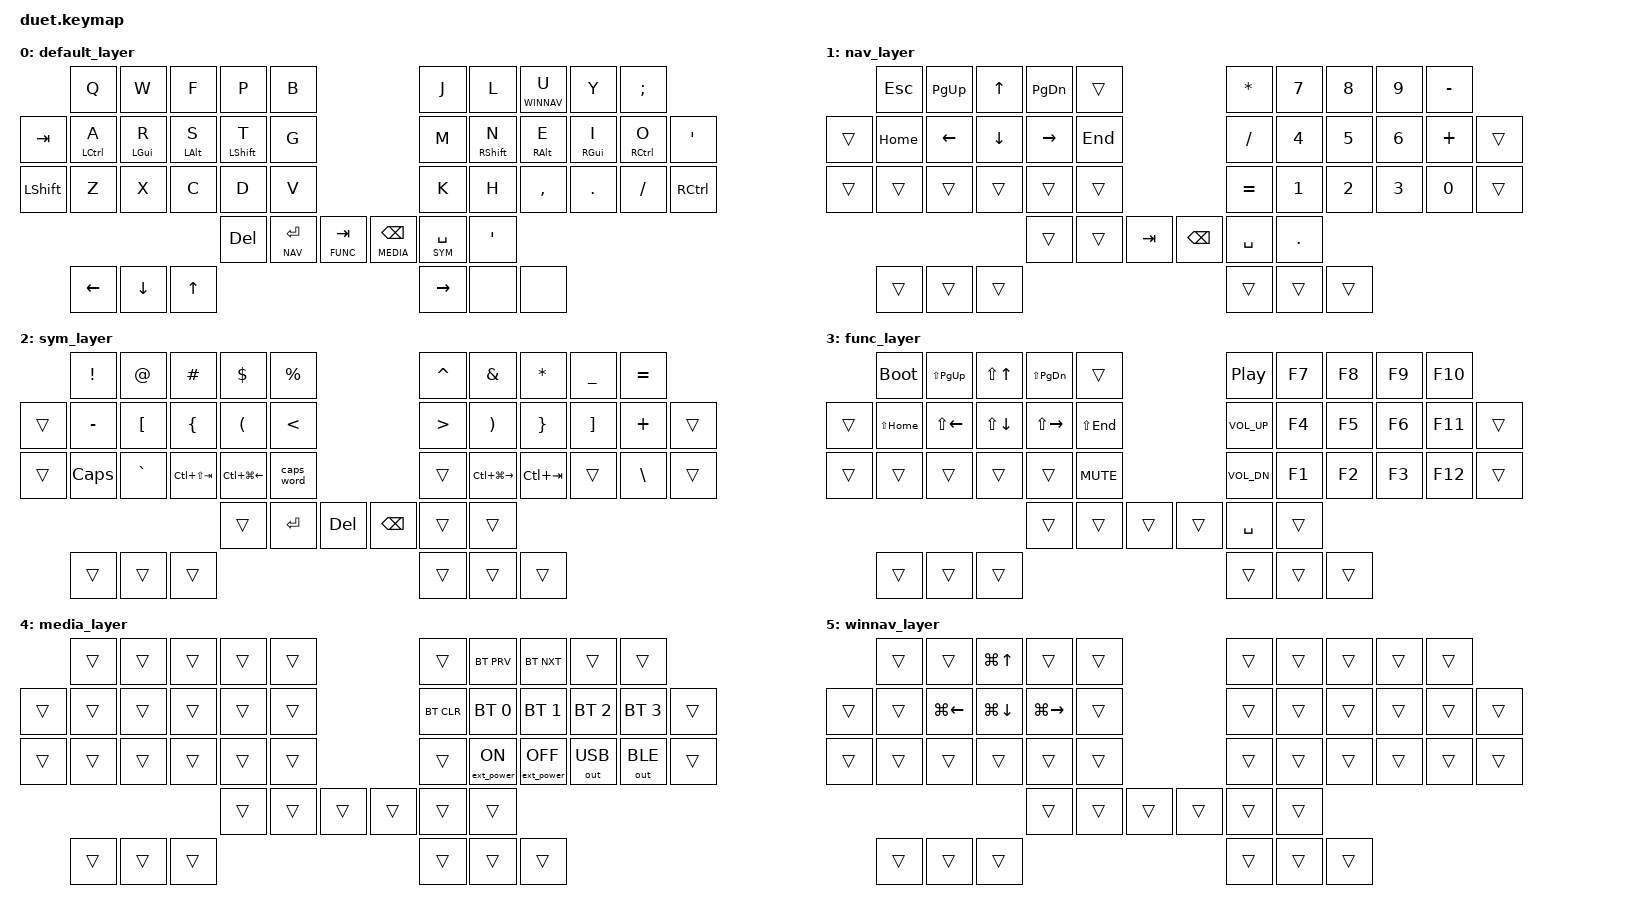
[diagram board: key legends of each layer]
/*
 * Copyright (c) 2020 The ZMK Contributors
 *
 * SPDX-License-Identifier: MIT
 */

#include <behaviors.dtsi>
#include <dt-bindings/zmk/keys.h>
#include <dt-bindings/zmk/bt.h>
#include <dt-bindings/zmk/outputs.h>
#include <dt-bindings/zmk/ext_power.h>

#define DEFAULT 0
#define NAV     1
#define SYM     2
#define FUNC    3
#define MEDIA   4
#define WINNAV  5

&caps_word {
    continue-list = <UNDERSCORE MINUS>;
};

/ {
    combos {
        compatible = "zmk,combos";
        combo_undo {
            timeout-ms = <50>;
            key-positions = <23 24>;
            bindings = <&kp LC(Z)>;
        };
    };
};

&encoder {
    status = "okay";
};

/ {
    behaviors {
        hm: homerow_mods {
            compatible = "zmk,behavior-hold-tap";
            #binding-cells = <2>;
            tapping-term-ms = <200>;
            flavor = "tap-preferred";
            bindings = <&kp>, <&kp>;
        };
        hs: homerow_shift {
            compatible = "zmk,behavior-hold-tap";
            #binding-cells = <2>;
            tapping-term-ms = <175>;
            flavor = "balanced";
            bindings = <&kp>, <&kp>;
        };
    };

    keymap {
        compatible = "zmk,keymap";

        sensor-bindings = <&inc_dec_kp C_VOL_UP C_VOL_DN>;

        default_layer {
            bindings = <
               &kp Q        &kp W        &kp F       &kp P         &kp B                                       &kp J         &kp L        &lt WINNAV U  &kp Y       &kp SEMI
    &kp TAB    &hm LCTL A   &hm LGUI R   &hm LALT S  &hs LSHIFT T  &kp G                                       &kp M         &hs RSHIFT N &hm RALT E    &hm RGUI I  &hm RCTL O  &kp SQT
    &kp LSHIFT &kp Z        &kp X        &kp C       &kp D         &kp V                                       &kp K         &kp H        &kp COMMA     &kp DOT     &kp FSLH    &kp RCTRL
                                                     &kp DEL       &lt NAV RET  &lt FUNC TAB  &lt MEDIA BSPC   &lt SYM SPACE &kp SQT
               &kp LEFT  &kp DOWN  &kp UP  &kp RIGHT  &none                                                                              &none

            >;
        };

        nav_layer {
            bindings = <
               &kp ESC      &kp PG_UP    &kp UP      &kp PG_DN     &trans                                      &kp ASTRK     &kp N7       &kp N8        &kp N9      &kp MINUS
    &trans     &kp HOME     &kp LEFT     &kp DOWN    &kp RIGHT     &kp END                                     &kp FSLH      &kp N4       &kp N5        &kp N6      &kp PLUS    &trans
    &trans     &trans       &trans       &trans      &trans        &trans                                      &kp EQUAL     &kp N1       &kp N2        &kp N3      &kp N0      &trans
                                                     &trans        &trans       &kp TAB       &kp BSPC         &kp SPACE     &kp DOT
               &trans  &trans  &trans  &trans  &trans                                                                                           &trans
            >;
        };

        sym_layer {
            bindings = <
               &kp EXCL     &kp AT       &kp HASH        &kp DLLR         &kp PRCNT                                   &kp CARET     &kp AMPS          &kp ASTRK     &kp UNDER   &kp EQUAL
    &trans     &kp MINUS    &kp LBKT     &kp LBRC        &kp LPAR         &kp LT                                      &kp GT        &kp RPAR          &kp RBRC      &kp RBKT    &kp PLUS    &trans
    &trans     &kp CAPS     &kp GRAVE    &kp LC(LS(TAB)) &kp LC(LG(LEFT)) &caps_word                                  &trans        &kp LC(LG(RIGHT)) &kp LC(TAB)   &trans      &kp BSLH    &trans
                                                         &trans           &kp RET       &kp DEL        &kp BSPC       &trans        &trans
               &trans  &trans  &trans  &trans  &trans                                                                                           &trans

            >;
        };

        func_layer {
            bindings = <
               &bootloader  &kp LS(PG_UP) &kp LS(UP)   &kp LS(PG_DN) &trans                                      &kp C_PLAY_PAUSE &kp F7       &kp F8        &kp F9      &kp F10
    &trans     &kp LS(HOME) &kp LS(LEFT)  &kp LS(DOWN) &kp LS(RIGHT) &kp LS(END)                                 &kp K_VOL_UP     &kp F4       &kp F5        &kp F6      &kp F11     &trans
    &trans     &trans       &trans        &trans       &trans        &kp C_MUTE                                  &kp K_VOL_DN     &kp F1       &kp F2        &kp F3      &kp F12     &trans
                                                       &trans        &trans        &trans       &trans           &kp SPACE        &trans
               &trans  &trans  &trans  &trans  &trans                                                                                           &trans
            >;
        };

        media_layer {
            bindings = <
               &trans       &trans        &trans       &trans        &trans                                     &trans             &bt BT_PRV        &bt BT_NXT         &trans         &trans
    &trans     &trans       &trans        &trans       &trans        &trans                                     &bt BT_CLR         &bt BT_SEL 0      &bt BT_SEL 1       &bt BT_SEL 2   &bt BT_SEL 3    &trans
    &trans     &trans       &trans        &trans       &trans        &trans                                     &trans             &ext_power EP_ON  &ext_power EP_OFF  &out OUT_USB   &out OUT_BLE    &trans
                                                       &trans        &trans        &trans        &trans         &trans             &trans
               &trans  &trans  &trans  &trans  &trans                                                                                           &trans
            >;
        };

        winnav_layer {
            bindings = <
               &trans       &trans       &kp LG(UP)   &trans        &trans                                      &trans      &trans      &trans      &trans      &trans
    &trans     &trans       &kp LG(LEFT) &kp LG(DOWN) &kp LG(RIGHT) &trans                                      &trans      &trans      &trans      &trans      &trans      &trans
    &trans     &trans       &trans       &trans       &trans        &trans                                      &trans      &trans      &trans      &trans      &trans      &trans
                                                      &trans        &trans        &trans         &trans         &trans      &trans
               &trans  &trans  &trans  &trans  &trans                                                                                           &trans
            >;
        };
    };
};
